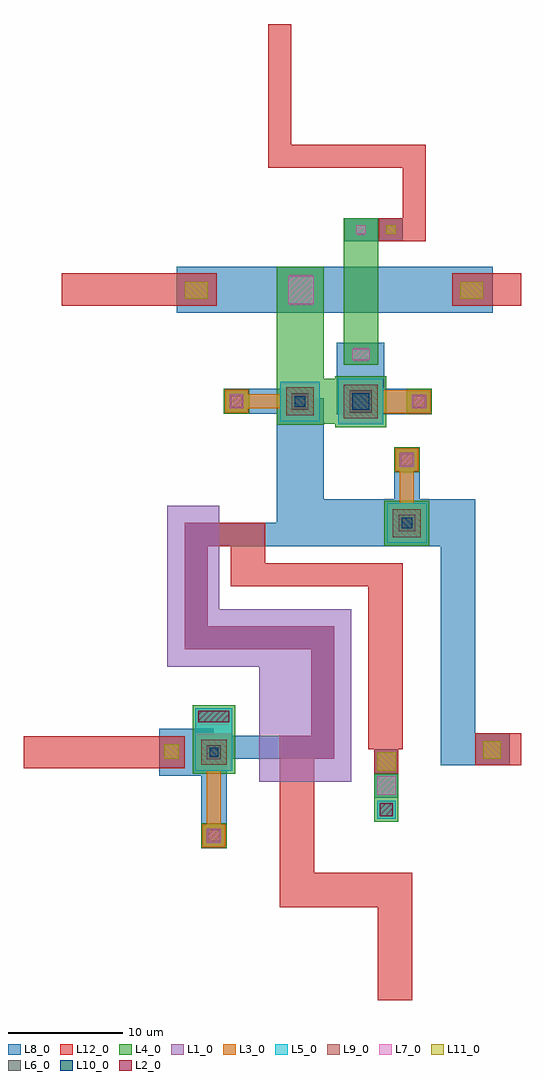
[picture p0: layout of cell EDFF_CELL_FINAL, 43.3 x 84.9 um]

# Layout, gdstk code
import gdstk
lib = gdstk.Library(unit=1e-6, precision=1e-09)
def R(c, l, rs):  # rectangles x0, y0, x1, y1
    for r in rs: c.add(gdstk.rectangle(r[:2], r[2:], *l))
L1_0 = (1, 0)
L2_0 = (2, 0)
L3_0 = (3, 0)
L4_0 = (4, 0)
L5_0 = (5, 0)
L6_0 = (6, 0)
L7_0 = (7, 0)
L8_0 = (8, 0)
L9_0 = (9, 0)
L10_0 = (10, 0)
L11_0 = (11, 0)
L12_0 = (12, 0)

edff_cell_final = lib.new_cell('EDFF_CELL_FINAL')
R(edff_cell_final, L1_0, [(13.2,-62.8,21.2,-52.8), (5.2,-52.8,9.7,-38.8), (9.7,-52.8,21.2,-47.8)])
R(edff_cell_final, L2_0, [(23.7,-65.8,24.8,-64.7), (7.9,-57.65,10.6,-56.65)])
R(edff_cell_final, L3_0, [(8.25,-68.51,10.25,-66.51), (7.65,-61.85,10.85,-58.65), (24.33,-42.03,27.75,-38.61), (25.04,-35.81,27.04,-33.81), (20.055,-31.715,23.995,-27.775), (15.025,-31.435,18.445,-28.015), (26.115,-30.745,28.115,-28.745), (10.225,-30.725,12.225,-28.725)])
R(edff_cell_final, L4_0, [(8.15,-68.61,10.35,-66.41), (23.2,-66.3,25.3,-64.2), (23.2,-64.2,25.3,-62.1), (7.4,-62.1,11.1,-58.4), (7.4,-58.4,11.1,-56.15), (24.08,-42.28,28,-38.36), (24.94,-35.91,27.14,-33.71), (19.805,-31.965,24.245,-27.525), (14.7,-31.78,18.8,-18), (18.8,-31.69,19.81,-27.76), (14.775,-31.685,18.695,-27.765), (26.015,-30.845,28.215,-28.645), (10.125,-30.825,12.325,-28.625), (20.54,-26.52,23.54,-13.8), (21.4,-15.45,22.7,-14.15)])
R(edff_cell_final, L5_0, [(23.45,-66.05,25.05,-64.45), (7.65,-61.85,10.85,-58.65), (7.65,-58.65,10.85,-57.9), (7.65,-57.9,10.85,-56.4), (24.33,-42.03,27.75,-38.61), (20.055,-31.715,23.995,-27.775), (15.025,-31.435,18.445,-28.015)])
R(edff_cell_final, L6_0, [(8.65,-60.85,9.85,-59.65), (25.33,-41.03,26.75,-39.61), (21.055,-30.715,22.995,-28.775), (16.025,-30.435,17.445,-29.015)])
R(edff_cell_final, L7_0, [(8.65,-68.11,9.85,-66.91), (23.45,-63.95,25.05,-62.35), (25.44,-35.41,26.64,-34.21), (26.515,-30.345,27.715,-29.145), (10.625,-30.325,11.825,-29.125), (21.29,-26.16,22.79,-25.16), (15.7,-21.3,17.95,-18.8), (21.65,-15.2,22.45,-14.4)])
R(edff_cell_final, L8_0, [(8.15,-68.61,10.35,-66.41), (23.2,-64.2,25.3,-62.1), (4.5,-62.3,9.25,-58.2), (23.2,-62.1,25.3,-60), (29,-61.4,32,-42.35), (32,-61.4,35,-58.6), (8.375,-61.125,10.125,-59.375), (9.25,-60.8,19.7,-58.8), (17.7,-58.8,19.7,-49.3), (6.7,-51.3,17.7,-49.3), (6.7,-49.3,8.7,-40.3), (8.7,-42.35,14.7,-40.3), (14.7,-42.35,18.8,-29.45), (18.8,-42.35,26,-38.25), (26,-42.35,32,-38.25), (25.08,-41.28,27,-39.36), (24.94,-35.91,27.14,-33.71), (20.805,-30.965,23.245,-28.525), (26.015,-30.845,28.215,-28.645), (19.95,-30.83,24.05,-24.63), (10.125,-30.825,12.325,-28.625), (15.775,-30.685,17.695,-28.765), (6,-22,33.5,-18), (20.6,-15.8,25.7,-13.8), (21.4,-15.45,22.7,-14.15), (24,-15.45,25.3,-14.15)])
R(edff_cell_final, L9_0, [(8.75,-68.01,9.75,-67.01), (8.15,-61.35,10.35,-59.15), (24.83,-41.53,27.25,-39.11), (25.54,-35.31,26.54,-34.31), (20.555,-31.215,23.495,-28.275), (15.525,-30.935,17.945,-28.515), (26.615,-30.245,27.615,-29.245), (10.725,-30.225,11.725,-29.225)])
R(edff_cell_final, L10_0, [(8.875,-60.625,9.625,-59.875), (25.58,-40.78,26.5,-39.86), (21.305,-30.465,22.745,-29.025), (16.275,-30.185,17.195,-29.265)])
R(edff_cell_final, L11_0, [(23.45,-61.85,25.05,-60.25), (4.95,-60.8,6.2,-59.55), (32.7,-60.8,34.2,-59.3), (6.7,-20.8,8.7,-19.3), (30.7,-20.8,32.7,-19.3), (24.25,-15.2,25.05,-14.4)])
R(edff_cell_final, L12_0, [(23.2,-62.1,25.3,-60), (-7.3,-61.65,6.7,-58.85), (32,-61.4,36,-58.6), (18,-60.8,19.7,-58.8), (22.7,-60,25.7,-43.8), (17.7,-58.8,19.7,-49.3), (6.7,-51.3,17.7,-49.3), (6.7,-49.3,8.7,-40.3), (10.7,-45.8,22.7,-43.8), (10.7,-43.8,13.7,-42.35), (8.7,-42.35,13.7,-40.3), (-4,-21.4,9.5,-18.6), (30,-21.4,36,-18.6), (24,-15.45,25.3,-14.15)])
edff_cell_final.add(gdstk.FlexPath([(16.735,-29.725),(12.325,-29.725)], 2.2, ends="flush", simple_path=True, layer=8, datatype=0))  # L8_0
edff_cell_final.add(gdstk.FlexPath([(15.525,-29.725),(11.725,-29.725)], 1.2, ends="flush", simple_path=True, layer=3, datatype=0))  # L3_0
edff_cell_final.add(gdstk.FlexPath([(26.04,-40.32),(26.04,-35.91)], 2.2, ends="flush", simple_path=True, layer=8, datatype=0))  # L8_0
edff_cell_final.add(gdstk.FlexPath([(26.04,-39.11),(26.04,-35.31)], 1.2, ends="flush", simple_path=True, layer=3, datatype=0))  # L3_0
edff_cell_final.add(gdstk.FlexPath([(9.25,-60.25),(9.25,-66.41)], 2.2, ends="flush", simple_path=True, layer=8, datatype=0))  # L8_0
edff_cell_final.add(gdstk.FlexPath([(9.25,-61.35),(9.25,-67.01)], 1.2, ends="flush", simple_path=True, layer=3, datatype=0))  # L3_0
edff_cell_final.add(gdstk.FlexPath([(22.025,-29.745),(26.015,-29.745)], 2.2, ends="flush", simple_path=True, layer=8, datatype=0))  # L8_0
edff_cell_final.add(gdstk.FlexPath([(23.495,-29.745),(26.615,-29.745)], 2, ends="flush", simple_path=True, layer=3, datatype=0))  # L3_0
edff_cell_final.add(gdstk.FlexPath([(23.6,-14.8),(26.7,-14.8),(26.7,-8.4),(15,-8.4),(15,3.1)], 2, ends="flush", simple_path=True, layer=12, datatype=0))  # L12_0
edff_cell_final.add(gdstk.FlexPath([(25,-81.8),(25,-72.25),(16.5,-72.25),(16.5,-58.8)], 3, ends="flush", simple_path=True, layer=12, datatype=0))  # L12_0

lib.write_gds('EDFF_CELL_FINAL.gds')
